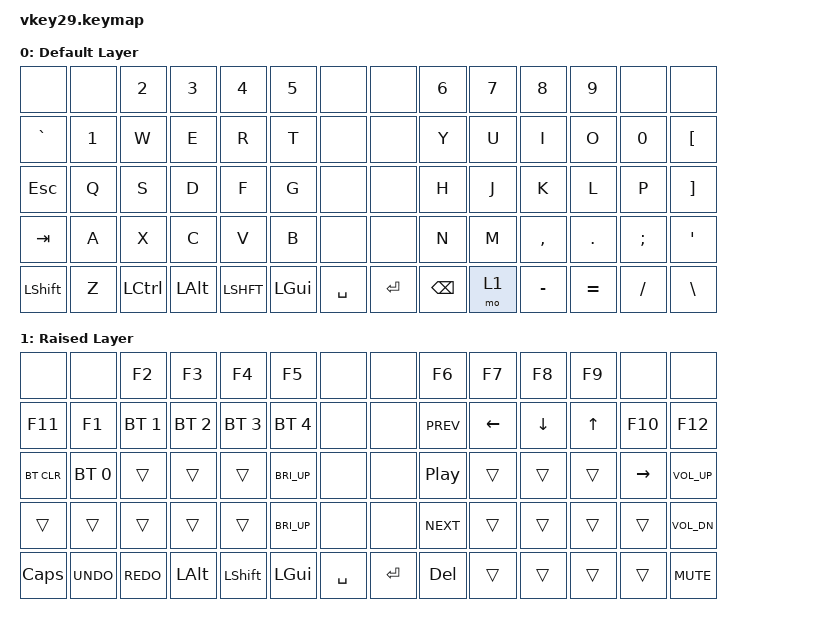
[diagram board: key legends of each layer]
/*
 * VKey29 keymap
 */
#include <behaviors.dtsi>
#include <dt-bindings/zmk/keys.h>

/ {
	keymap {
		compatible = "zmk,keymap";
		default_layer {
            display-name = "Default Layer";
			bindings = <
				/* Row 0 */
				&none     &none     &kp N2    &kp N3    &kp N4    &kp N5   &none    &none     &kp N6    &kp N7    &kp N8    &kp N9    &none     &none
				/* Row 1 */
				&kp GRAVE &kp N1    &kp W     &kp E     &kp R     &kp T    &none    &none     &kp Y     &kp U     &kp I     &kp O     &kp N0    &kp LBKT
				/* Row 2 */
				&kp ESC   &kp Q     &kp S     &kp D     &kp F     &kp G    &none    &none     &kp H     &kp J     &kp K     &kp L     &kp P     &kp RBKT
				/* Row 3 */
				&kp TAB   &kp A     &kp X     &kp C     &kp V     &kp B    &none    &none     &kp N     &kp M     &kp COMMA &kp DOT   &kp SEMI  &kp SQT
				/* Row 4 */
				&kp LSHFT &kp Z     &kp LCTRL &kp LALT  &LSHFT    &kp LGUI &kp SPACE &kp RET  &kp BSPC  &mo 1  &kp MINUS &kp EQUAL &kp FSLH  &kp BSLH
			>;
		};

        upper_layer {
            display-name = "Raised Layer";
            bindings = <
            /* Row 0 */
			    &none      &none    &kp F2    &kp F3    &kp F4    &kp F5    &none    &none     &kp F6    &kp F7    &kp F8    &kp F9    &none     &none
				/* Row 1 */
				&kp F11 &kp F1 &bt BT_SEL 1 &bt BT_SEL 2 &bt BT_SEL 3 &bt BT_SEL 4 &none &none &kp C_PREV &kp LEFT &kp DOWN  &kp UP    &kp F10   &kp F12
				/* Row 2 */
				&bt BT_CLR &bt BT_SEL 0 &trans &trans   &trans    &kp C_BRI_UP &none  &none    &kp C_PP  &trans    &trans    &trans    &kp RIGHT &kp C_VOL_UP
				/* Row 3 */
				&trans    &trans    &trans    &trans    &trans    &kp C_BRI_UP &none  &none    &kp C_NEXT &trans   &trans    &trans    &trans    &kp C_VOL_DN
				/* Row 4 */
				&kp CAPS  &kp K_UNDO &kp K_REDO &kp LALT &kp LSHFT &kp LGUI &kp SPACE &kp RET  &kp DEL    &trans   &trans    &trans    &trans    &kp C_MUTE
            >;
        };
	};
};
